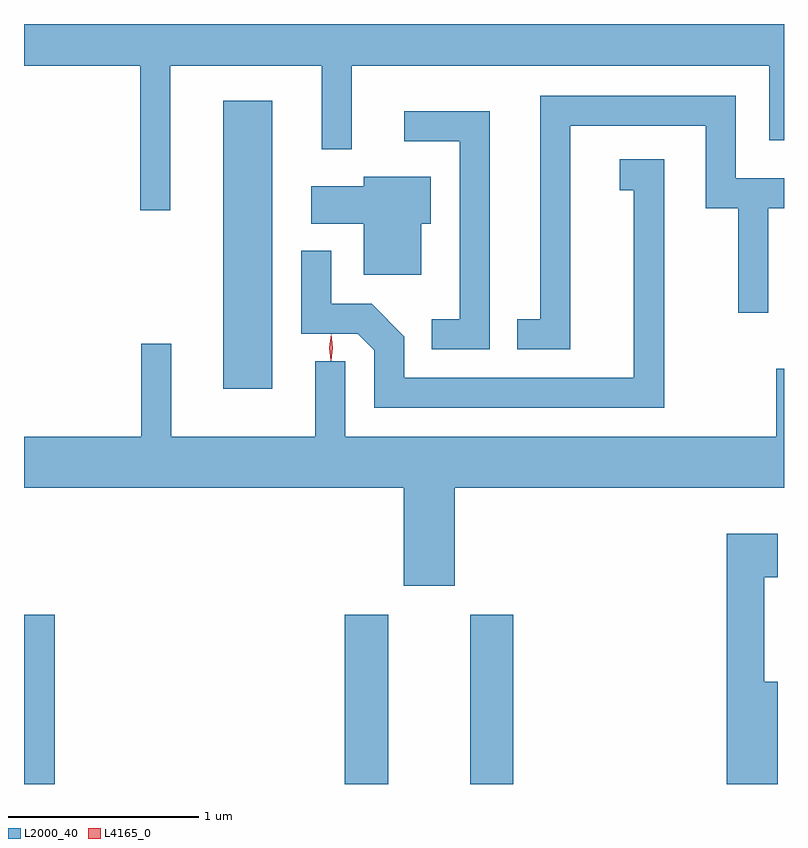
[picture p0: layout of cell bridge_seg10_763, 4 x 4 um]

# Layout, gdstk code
import gdstk
lib = gdstk.Library(unit=1e-6, precision=1e-09)
def R(c, l, rs):  # rectangles x0, y0, x1, y1
    for r in rs: c.add(gdstk.rectangle(r[:2], r[2:], *l))
def P(c, l, *ps):  # polygons
    for p in ps: c.add(gdstk.Polygon(p, *l))
L2000_40 = (2000, 40)
L4165_0 = (4165, 0)

bridge_seg10_763 = lib.new_cell('bridge_seg10_763')
R(bridge_seg10_763, L2000_40, [(546.818,2096.817,546.979,2097.709), (548.506,2096.817,548.734,2097.709), (549.166,2096.817,549.394,2097.709), (547.866,2098.896,548.124,2100.414)])
P(bridge_seg10_763, L2000_40, [(547.589,2100.596),(548.386,2100.596),(548.386,2100.158),(548.544,2100.158),(548.544,2100.596),(550.741,2100.596),(550.741,2100.206),(550.818,2100.206),(550.818,2100.817),(546.818,2100.817),(546.818,2100.596),(547.431,2100.596),(547.431,2099.838),(547.589,2099.838)],
  [(549.694,2100.281),(550.406,2100.281),(550.406,2099.846),(550.576,2099.846),(550.576,2099.298),(550.734,2099.298),(550.734,2099.846),(550.818,2099.846),(550.818,2100.004),(550.564,2100.004),(550.564,2100.439),(549.536,2100.439),(549.536,2099.264),(549.413,2099.264),(549.413,2099.106),(549.694,2099.106)],
  [(549.269,2100.359),(548.818,2100.359),(548.818,2100.201),(549.111,2100.201),(549.111,2099.264),(548.963,2099.264),(548.963,2099.106),(549.269,2099.106)],
  [(550.189,2100.104),(549.953,2100.104),(549.953,2099.941),(550.026,2099.941),(550.026,2098.954),(548.819,2098.954),(548.819,2099.172),(548.647,2099.344),(548.434,2099.344),(548.434,2099.623),(548.276,2099.623),(548.276,2099.186),(548.574,2099.186),(548.661,2099.099),(548.661,2098.796),(550.189,2098.796)],
  [(548.909,2099.766),(548.959,2099.766),(548.959,2100.014),(548.606,2100.014),(548.606,2099.964),(548.331,2099.964),(548.331,2099.766),(548.606,2099.766),(548.606,2099.496),(548.909,2099.496)],
  [(549.084,2098.376),(550.818,2098.376),(550.818,2099.003),(550.776,2099.003),(550.776,2098.644),(548.509,2098.644),(548.509,2099.043),(548.351,2099.043),(548.351,2098.644),(547.594,2098.644),(547.594,2099.133),(547.436,2099.133),(547.436,2098.644),(546.818,2098.644),(546.818,2098.376),(548.816,2098.376),(548.816,2097.861),(549.084,2097.861)],
  [(550.784,2097.354),(550.714,2097.354),(550.714,2097.906),(550.784,2097.906),(550.784,2098.134),(550.516,2098.134),(550.516,2096.817),(550.784,2096.817)])
P(bridge_seg10_763, L4165_0, [(548.433,2099.044),(548.433,2099.045),(548.424,2099.114),(548.434,2099.183),(548.434,2099.184),(548.435,2099.183),(548.444,2099.114),(548.434,2099.045)],
  [(548.433,2099.048),(548.424,2099.114),(548.435,2099.18),(548.435,2099.181),(548.436,2099.18),(548.444,2099.114),(548.434,2099.048),(548.434,2099.048)])

lib.write_gds('bridge_seg10_763.gds')
